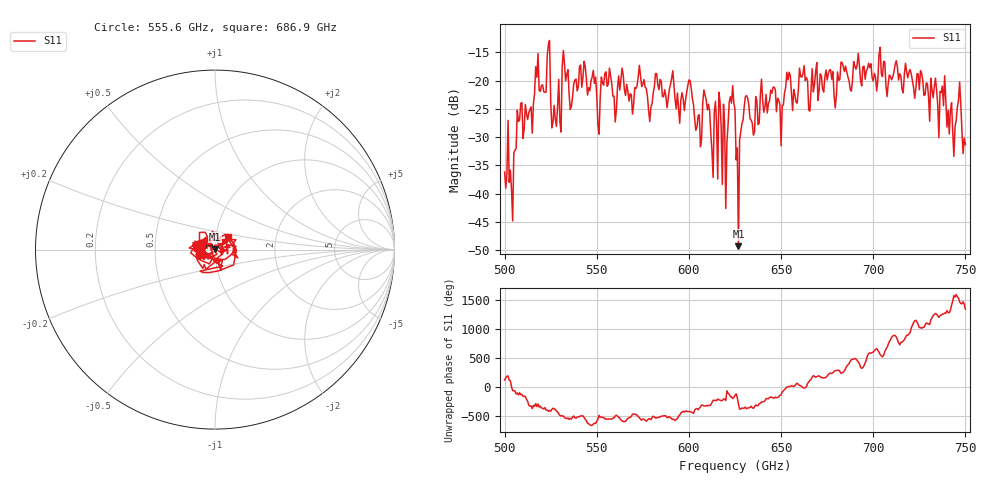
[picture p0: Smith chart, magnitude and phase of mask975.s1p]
!Created with skrf (http://scikit-rf.org).
# GHz S MA R 50.0
!freq magS11 angS11
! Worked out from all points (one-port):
!   401 points, 500 GHz to 750 GHz, reference 50 ohm
!   lowest |S11| = -49.3 dB at 626.9 GHz (marker M1), VSWR 1.01, Z = 50.2 + j0.302 ohm
!   |S11| at or under -10 dB: start of sweep to end of sweep
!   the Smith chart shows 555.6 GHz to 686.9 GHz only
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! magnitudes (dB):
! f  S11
! 500 GHz  -36.2
! 503.8 GHz  -39.3
! 508.1 GHz  -27.0
! 513.8 GHz  -25.1
! 517.5 GHz  -19.4
! 523.8 GHz  -13.7
! 526.9 GHz  -24.4
! 531.2 GHz  -17.4
! 542.5 GHz  -19.5
! 551.2 GHz  -29.5
! 562.5 GHz  -21.7
! 593.8 GHz  -22.2
! 600 GHz  -19.9
! 605.6 GHz  -26.0
! 609.4 GHz  -23.4
! 619.4 GHz  -27.6
! 623.1 GHz  -24.0
! 625 GHz  -25.1
! 626.9 GHz  -49.3
! 631.2 GHz  -22.7
! 634.4 GHz  -27.5
! 656.2 GHz  -25.3
! 687.5 GHz  -21.5
! 718.8 GHz  -19.5
! 737.5 GHz  -21.0
! 742.5 GHz  -23.9
! 746.2 GHz  -23.5
! 750 GHz  -31.3
